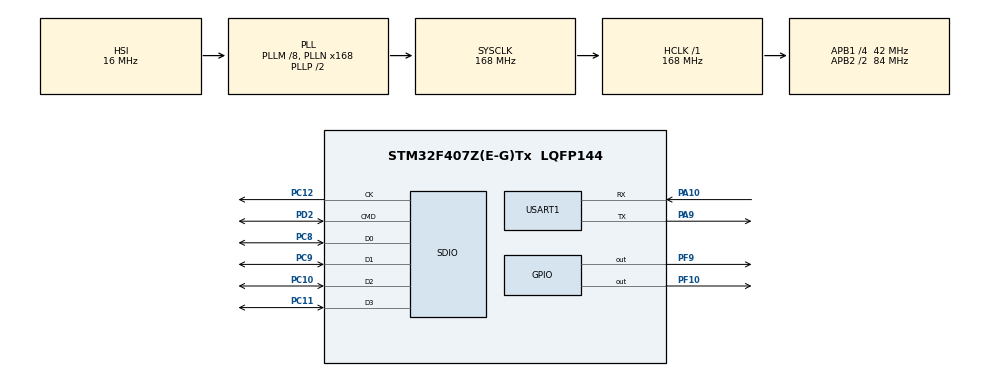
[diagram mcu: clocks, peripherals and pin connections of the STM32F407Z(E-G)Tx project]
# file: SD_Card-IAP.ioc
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Dma.Request0=SDIO_RX
Dma.Request1=SDIO_TX
Dma.SDIO_RX.0.Direction=DMA_PERIPH_TO_MEMORY
Dma.SDIO_RX.0.FIFOMode=DMA_FIFOMODE_ENABLE
Dma.SDIO_RX.0.FIFOThreshold=DMA_FIFO_THRESHOLD_FULL
Dma.SDIO_RX.0.Instance=DMA2_Stream3
Dma.SDIO_RX.0.MemBurst=DMA_MBURST_INC4
Dma.SDIO_RX.0.MemDataAlignment=DMA_MDATAALIGN_WORD
Dma.SDIO_RX.0.MemInc=DMA_MINC_ENABLE
Dma.SDIO_RX.0.Mode=DMA_PFCTRL
Dma.SDIO_RX.0.PeriphBurst=DMA_PBURST_INC4
Dma.SDIO_RX.0.PeriphDataAlignment=DMA_PDATAALIGN_WORD
Dma.SDIO_RX.0.PeriphInc=DMA_PINC_DISABLE
Dma.SDIO_RX.0.Priority=DMA_PRIORITY_VERY_HIGH
Dma.SDIO_TX.1.Direction=DMA_MEMORY_TO_PERIPH
Dma.SDIO_TX.1.FIFOMode=DMA_FIFOMODE_ENABLE
Dma.SDIO_TX.1.FIFOThreshold=DMA_FIFO_THRESHOLD_FULL
Dma.SDIO_TX.1.Instance=DMA2_Stream6
Dma.SDIO_TX.1.MemBurst=DMA_MBURST_INC4
Dma.SDIO_TX.1.MemDataAlignment=DMA_MDATAALIGN_WORD
Dma.SDIO_TX.1.MemInc=DMA_MINC_ENABLE
Dma.SDIO_TX.1.Mode=DMA_PFCTRL
Dma.SDIO_TX.1.PeriphBurst=DMA_PBURST_INC4
Dma.SDIO_TX.1.PeriphDataAlignment=DMA_PDATAALIGN_WORD
Dma.SDIO_TX.1.PeriphInc=DMA_PINC_DISABLE
Dma.SDIO_TX.1.Priority=DMA_PRIORITY_VERY_HIGH
FATFS._CODE_PAGE=936
FATFS._FS_NORTC=1
FATFS._FS_RPATH=2
FATFS._NORTC_MDAY=17
FATFS._NORTC_MON=1
FATFS._NORTC_YEAR=2017
FATFS._USE_LFN=2
Mcu.Family=STM32F4
Mcu.Name=STM32F407Z(E-G)Tx
Mcu.Package=LQFP144
NVIC.DMA2_Stream3_IRQn=true\:3\:0\:true\:false\:true
NVIC.DMA2_Stream6_IRQn=true\:3\:0\:true\:false\:true
NVIC.PriorityGroup=NVIC_PRIORITYGROUP_4
NVIC.SDIO_IRQn=true\:2\:0\:true\:false\:true
NVIC.TIM2_IRQn=true\:2\:0\:true\:false\:true
PA10.Mode=Asynchronous
PA10.Signal=USART1_RX
PA9.Mode=Asynchronous
PA9.Signal=USART1_TX
PC10.Mode=SD_4_bits_Wide_bus
PC10.Signal=SDIO_D2
PC11.Mode=SD_4_bits_Wide_bus
PC11.Signal=SDIO_D3
PC12.Mode=SD_4_bits_Wide_bus
PC12.Signal=SDIO_CK
PC14-OSC32_IN.Mode=LSE-External-Oscillator
PC14-OSC32_IN.Signal=RCC_OSC32_IN
PC15-OSC32_OUT.Mode=LSE-External-Oscillator
PC15-OSC32_OUT.Signal=RCC_OSC32_OUT
PC8.Mode=SD_4_bits_Wide_bus
PC8.Signal=SDIO_D0
PC9.Mode=SD_4_bits_Wide_bus
PC9.Signal=SDIO_D1
PD2.Mode=SD_4_bits_Wide_bus
PD2.Signal=SDIO_CMD
PF10.Signal=GPIO_Output
PF9.Signal=GPIO_Output
PH0-OSC_IN.Mode=HSE-External-Oscillator
PH0-OSC_IN.Signal=RCC_OSC_IN
PH1-OSC_OUT.Mode=HSE-External-Oscillator
PH1-OSC_OUT.Signal=RCC_OSC_OUT
ProjectManager.HeapSize=0x2000
ProjectManager.StackSize=0x2000
ProjectManager.TargetToolchain=MDK-ARM V5
RCC.48MHZClocksFreq_Value=48000000
RCC.AHBFreq_Value=168000000
RCC.APB1CLKDivider=RCC_HCLK_DIV4
RCC.APB1Freq_Value=42000000
RCC.APB1TimFreq_Value=84000000
RCC.APB2CLKDivider=RCC_HCLK_DIV2
RCC.APB2Freq_Value=84000000
RCC.APB2TimFreq_Value=168000000
RCC.CortexFreq_Value=168000000
RCC.HCLKFreq_Value=168000000
RCC.HSE_VALUE=25000000
RCC.HSI_VALUE=16000000
RCC.PLLM=8
RCC.PLLN=168
RCC.PLLQ=7
RCC.SYSCLKFreq_VALUE=168000000
RCC.SYSCLKSource=RCC_SYSCLKSOURCE_PLLCLK
RCC.VCOOutputFreq_Value=336000000
SDIO.BusWide=SDIO_BUS_WIDE_1B
SDIO.WideMode=SDIO_BUS_WIDE_4B
TIM2.Period=1
TIM2.Prescaler=83
VP_FATFS_VS_SDIO.Mode=SDIO
VP_TIM2_VS_ClockSourceINT.Mode=Internal
board=SD_Card-IAP

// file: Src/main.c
/**
  ******************************************************************************
  * File Name          : main.c
  * Description        : Main program body
  ******************************************************************************
  *
  * COPYRIGHT(c) 2017 STMicroelectronics
  *
  * Redistribution and use in source and binary forms, with or without modification,
  * are permitted provided that the following conditions are met:
  *   1. Redistributions of source code must retain the above copyright notice,
  *      this list of conditions and the following disclaimer.
  *   2. Redistributions in binary form must reproduce the above copyright notice,
  *      this list of conditions and the following disclaimer in the documentation
  *      and/or other materials provided with the distribution.
  *   3. Neither the name of STMicroelectronics nor the names of its contributors
  *      may be used to endorse or promote products derived from this software
  *      without specific prior written permission.
  *
  * THIS SOFTWARE IS PROVIDED BY THE COPYRIGHT HOLDERS AND CONTRIBUTORS "AS IS"
  * AND ANY EXPRESS OR IMPLIED WARRANTIES, INCLUDING, BUT NOT LIMITED TO, THE
  * IMPLIED WARRANTIES OF MERCHANTABILITY AND FITNESS FOR A PARTICULAR PURPOSE ARE
  * DISCLAIMED. IN NO EVENT SHALL THE COPYRIGHT HOLDER OR CONTRIBUTORS BE LIABLE
  * FOR ANY DIRECT, INDIRECT, INCIDENTAL, SPECIAL, EXEMPLARY, OR CONSEQUENTIAL
  * DAMAGES (INCLUDING, BUT NOT LIMITED TO, PROCUREMENT OF SUBSTITUTE GOODS OR
  * SERVICES; LOSS OF USE, DATA, OR PROFITS; OR BUSINESS INTERRUPTION) HOWEVER
  * CAUSED AND ON ANY THEORY OF LIABILITY, WHETHER IN CONTRACT, STRICT LIABILITY,
  * OR TORT (INCLUDING NEGLIGENCE OR OTHERWISE) ARISING IN ANY WAY OUT OF THE USE
  * OF THIS SOFTWARE, EVEN IF ADVISED OF THE POSSIBILITY OF SUCH DAMAGE.
  *
  ******************************************************************************
  */
#include "stm32f4xx_hal.h"
#include "dma.h"
#include "fatfs.h"
#include "sdio.h"
#include "tim.h"
#include "usart.h"
#include "gpio.h"

/* USER CODE BEGIN PV */
/* Private variables ---------------------------------------------------------*/

/* USER CODE END PV */

void SystemClock_Config(void);
void Error_Handler(void);

/* USER CODE BEGIN PFP */
/* Private function prototypes -----------------------------------------------*/

/* USER CODE END PFP */

/* USER CODE BEGIN 0 */

/* Definition Flash Sector----------------------------------------------------*/
#define ADDR_FLASH_SECTOR_0     ((uint32_t)0x08000000) /* Base @ of Sector 0, 16 Kbytes */
#define ADDR_FLASH_SECTOR_1     ((uint32_t)0x08004000) /* Base @ of Sector 1, 16 Kbytes */
#define ADDR_FLASH_SECTOR_2     ((uint32_t)0x08008000) /* Base @ of Sector 2, 16 Kbytes */
#define ADDR_FLASH_SECTOR_3     ((uint32_t)0x0800C000) /* Base @ of Sector 3, 16 Kbytes */
#define ADDR_FLASH_SECTOR_4     ((uint32_t)0x08010000) /* Base @ of Sector 4, 64 Kbytes */
#define ADDR_FLASH_SECTOR_5     ((uint32_t)0x08020000) /* Base @ of Sector 5, 128 Kbytes */
#define ADDR_FLASH_SECTOR_6     ((uint32_t)0x08040000) /* Base @ of Sector 6, 128 Kbytes */
#define ADDR_FLASH_SECTOR_7     ((uint32_t)0x08060000) /* Base @ of Sector 7, 128 Kbytes */
#define ADDR_FLASH_SECTOR_8     ((uint32_t)0x08080000) /* Base @ of Sector 8, 128 Kbytes */
#define ADDR_FLASH_SECTOR_9     ((uint32_t)0x080A0000) /* Base @ of Sector 9, 128 Kbytes */
#define ADDR_FLASH_SECTOR_10    ((uint32_t)0x080C0000) /* Base @ of Sector 10, 128 Kbytes */
#define ADDR_FLASH_SECTOR_11    ((uint32_t)0x080E0000) /* Base @ of Sector 11, 128 Kbytes */
/* Definition system error code-------------------------------------------------------*/
#define FLASHERASE_ERROR        0
#define LINKDISK_ERROR          1
#define FILE_ERROR              2
#define COPY_ERROR              3
#define CLKCONF_ERROR           4
/*******************************************************************************/
#define FLASH_APP_ADDR        0x080A0000
typedef  void (*pFunction)(void);
pFunction Jump_To_Application;
uint32_t JumpAddress;
uint32_t FirstSector = 0, NbOfSectors = 0;
uint32_t SectorError = 0;
FATFS fs;
FIL file;
FRESULT f_res;
uint32_t br,bw;
uint32_t copytime=0;
uint8_t i = 0;
//uint8_t buffer[PAGE_SIZE];
uint8_t   SystemError;
uint8_t   ReadAppBuffer[512];
//uint16_t  ChangeBuffer_HALFWORD[256];
//uint32_t  ChangeBuffer_WORD[256];

__asm void MSR_MSP(uint32_t addr)
{
    MSR MSP, r0 			//set Main Stack value
    BX r14
}
/* USER CODE END 0 */

int main(void)
{

  /* MCU Configuration----------------------------------------------------------*/

  /* Reset of all peripherals, Initializes the Flash interface and the Systick. */
  HAL_Init();

  /* Configure the system clock */
  SystemClock_Config();

  /* Initialize all configured peripherals */
  MX_GPIO_Init();
  MX_DMA_Init();
  MX_SDIO_SD_Init();
  MX_FATFS_Init();
  MX_USART1_UART_Init();
  MX_TIM2_Init();
	HAL_TIM_Base_Start_IT(&htim2);
  /* USER CODE BEGIN 2 */
	/*uint32_t wbytes;
	uint8_t wtext[] = "text to write logical disk";
	if(f_mount(&fs,(TCHAR *const)SD_Path,0)==FR_OK)
	{
		if(f_open(&file, "test.TXT", FA_CREATE_ALWAYS | FA_WRITE) == FR_OK)
		{
			if(f_write(&file, wtext, sizeof(wtext), (void *)&wbytes) == FR_OK)
			{
				f_close(&file);
			}
		}
	}*/
	//FATFS_UnLinkDriver(SD_Path);

	/*Open file--------------------------------------------------*/
	int j=0,i=0;
	uint32_t  APP_Sector = 0;
	uint16_t  APP_Byte = 0;
	printf("Link Disk...\r\n");
	if(f_mount(&fs,(TCHAR *const)SD_Path,0) == FR_OK)
		printf("Link Disk successful...\r\n");
	else
	{
		SystemError = LINKDISK_ERROR;
		Error_Handler();
	}
	printf("Open File...\r\n");
	if(f_open(&file, "0:/app.bin", FA_OPEN_EXISTING | FA_READ) == FR_OK)
	{
		printf("Open File successful...\r\n");
		/*FLASH Erase-------------------------------------------------*/
		FirstSector = 9;
		NbOfSectors = 3;
		FLASH_EraseInitTypeDef pEraseInit;
		pEraseInit.TypeErase = FLASH_TYPEERASE_SECTORS;
		pEraseInit.VoltageRange = FLASH_VOLTAGE_RANGE_3;
		pEraseInit.Sector = FirstSector;
		pEraseInit.NbSectors = NbOfSectors;
		HAL_FLASH_Unlock();
		copytime=0;
		if(HAL_FLASHEx_Erase(&pEraseInit, &SectorError) == HAL_OK)
		{
			printf("FLASH Erase successful...\r\n");
			printf("Usage time: %.6fs\r\n",((float)copytime)/1000000.0);
		}
		else
		{
			SystemError = FLASHERASE_ERROR;
			Error_Handler();
		}
		//f_read(&file, buffer, PAGE_SIZE, &br);
		APP_Sector = file.fsize / 512;
		APP_Byte = file.fsize % 512;
		printf("app.bin size = %ld bytes\r\n",file.fsize);
		copytime=0;
		for(i = 0;i < APP_Sector;i++)
		{
			f_read(&file,ReadAppBuffer,512,(UINT *)&bw);
			for(j = 0;j < 256;j++)
			{
				//ChangeBuffer_HALFWORD[j] = (ReadAppBuffer[j * 2 + 1] << 8) + ReadAppBuffer[j * 2];
				if(HAL_FLASH_Program(FLASH_TYPEPROGRAM_HALFWORD,FLASH_APP_ADDR + i * 512 + j * 2,(ReadAppBuffer[j * 2 + 1] << 8) + ReadAppBuffer[j * 2])!= HAL_OK)
				{
					SystemError = COPY_ERROR;
					Error_Handler();
				}
			}
			//HAL_FLASH_Program(FLASH_TYPEPROGRAM_HALFWORD,FLASH_APP_ADDR + i * 512,);
		}
		if(APP_Byte != 0)
		{
			f_read (&file,ReadAppBuffer,APP_Byte,(UINT *)&bw);
			for(j = 0;j < (APP_Byte / 2);j++)
			{
				//ChangeBuffer_HALFWORD[j] = (ReadAppBuffer[j * 2 + 1] << 8) + ReadAppBuffer[j * 2];
				if(HAL_FLASH_Program(FLASH_TYPEPROGRAM_HALFWORD,FLASH_APP_ADDR + APP_Sector * 512 + j * 2,(ReadAppBuffer[j * 2 + 1] << 8) + ReadAppBuffer[j * 2]) != HAL_OK)
				{
					SystemError = COPY_ERROR;
					Error_Handler();
				}
			}
			//HAL_FLASH_Program(FLASH_APP_ADDR + i * 512,ChangeBuffer_HALFWORD,APP_Byte / 2);
		}
		f_close(&file);
		printf("Reload bin file successful...\r\n");
		printf("Usage time: %.6fs\r\n",((float)copytime)/1000000.0);
		HAL_TIM_Base_Stop_IT(&htim2);
		/*Jump to Application------------------------------------*/
		if(((*(__IO uint32_t*)FLASH_APP_ADDR)&0x2FFE0000)==0x20000000)
		{
			Jump_To_Application = (pFunction)(*(__IO uint32_t*)(FLASH_APP_ADDR+4));
			printf("Jump to Application...\r\n");
			MSR_MSP(*(__IO uint32_t*)FLASH_APP_ADDR);
			//printf("Jump to Application...\r\n");
			Jump_To_Application();
		}
		else //Almost impossible so no definition
		{
			printf("Application address error...\r\n");
			Error_Handler();
		}
	}
	else //printf("File not found...\r\n");
	{
		SystemError = FILE_ERROR;
		Error_Handler();
	}
  /* USER CODE END 2 */

  /* Infinite loop */
  while (1)
  {

  }

}

/** System Clock Configuration
*/
void SystemClock_Config(void)
{

  RCC_OscInitTypeDef RCC_OscInitStruct;
  RCC_ClkInitTypeDef RCC_ClkInitStruct;

  __HAL_RCC_PWR_CLK_ENABLE();

  __HAL_PWR_VOLTAGESCALING_CONFIG(PWR_REGULATOR_VOLTAGE_SCALE1);

  RCC_OscInitStruct.OscillatorType = RCC_OSCILLATORTYPE_HSI;
  RCC_OscInitStruct.HSIState = RCC_HSI_ON;
  RCC_OscInitStruct.HSICalibrationValue = 16;
  RCC_OscInitStruct.PLL.PLLState = RCC_PLL_ON;
  RCC_OscInitStruct.PLL.PLLSource = RCC_PLLSOURCE_HSI;
  RCC_OscInitStruct.PLL.PLLM = 8;
  RCC_OscInitStruct.PLL.PLLN = 168;
  RCC_OscInitStruct.PLL.PLLP = RCC_PLLP_DIV2;
  RCC_OscInitStruct.PLL.PLLQ = 7;
  if (HAL_RCC_OscConfig(&RCC_OscInitStruct) != HAL_OK)
  {
    Error_Handler();
  }

  RCC_ClkInitStruct.ClockType = RCC_CLOCKTYPE_HCLK|RCC_CLOCKTYPE_SYSCLK
                              |RCC_CLOCKTYPE_PCLK1|RCC_CLOCKTYPE_PCLK2;
  RCC_ClkInitStruct.SYSCLKSource = RCC_SYSCLKSOURCE_PLLCLK;
  RCC_ClkInitStruct.AHBCLKDivider = RCC_SYSCLK_DIV1;
  RCC_ClkInitStruct.APB1CLKDivider = RCC_HCLK_DIV4;
  RCC_ClkInitStruct.APB2CLKDivider = RCC_HCLK_DIV2;
  if (HAL_RCC_ClockConfig(&RCC_ClkInitStruct, FLASH_LATENCY_5) != HAL_OK)
  {
    Error_Handler();
  }

  HAL_SYSTICK_Config(HAL_RCC_GetHCLKFreq()/1000);

  HAL_SYSTICK_CLKSourceConfig(SYSTICK_CLKSOURCE_HCLK);

  /* SysTick_IRQn interrupt configuration */
  HAL_NVIC_SetPriority(SysTick_IRQn, 0, 0);
}

/* USER CODE BEGIN 4 */
void HAL_TIM_PeriodElapsedCallback(TIM_HandleTypeDef *htim)
{
	copytime++;
}
/* USER CODE END 4 */

void Error_Handler(void)
{
  /* USER CODE BEGIN Error_Handler */
  /* User can add his own implementation to report the HAL error return state */
	switch(SystemError)
	{
		case FLASHERASE_ERROR:
			printf("FLASH Erase error...\r\n");
			break;
		case LINKDISK_ERROR:
			printf("Link Disk error...\r\n");
			break;
		case FILE_ERROR:
			HAL_TIM_Base_Stop_IT(&htim2);
			printf("Open File error...\r\n");
			if(((*(__IO uint32_t*)FLASH_APP_ADDR)&0x2FFE0000)==0x20000000)
			{
				Jump_To_Application = (pFunction)(*(__IO uint32_t*)(FLASH_APP_ADDR+4));
				printf("Jump to Application...\r\n");
				MSR_MSP(*(__IO uint32_t*)FLASH_APP_ADDR);
				//printf("Jump to Application...\r\n");
				Jump_To_Application();
			}
			break;
		case COPY_ERROR:
			printf("Copy File error...\r\n");
			break;
		case CLKCONF_ERROR:
			printf("Configure the system clock error...\r\n");
			break;
		default :
			printf("Magic error ^_^...\r\n");
			break;
	}
  while(1)
  {
  }
  /* USER CODE END Error_Handler */
}

/************************ (C) COPYRIGHT STMicroelectronics *****END OF FILE****/
